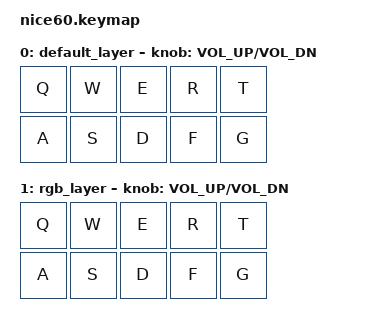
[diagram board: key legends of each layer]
/*
 * Copyright (c) 2021 Nick Winans
 *
 * SPDX-License-Identifier: MIT
 */

       
#include <behaviors.dtsi>
#include <dt-bindings/zmk/keys.h>
#include <dt-bindings/zmk/bt.h>
#include <dt-bindings/zmk/outputs.h>
#include <dt-bindings/zmk/ext_power.h>
#include <dt-bindings/zmk/rgb.h>

/ {
    keymap {
        compatible = "zmk,keymap";

        default_layer {
// ------------------------------------------------------------------------------------------
// | ESC |  1  |  2  |  3  |  4  |  5  |  6  |  7  |  8  |  9  |  0  |  -  |  =  |   BKSP   |
// | TAB  |  Q  |  W  |  E  |  R  |  T  |  Y  |  U  |  I  |  O  |  P  |  [  |  ]  |   "|"   |
// | CAPS  |  A  |  S  |  D  |  F  |  G  |  H  |  J  |  K  |  L  |  ;  |  '  |     ENTER    |
// |  SHIFT  |  Z  |  X  |  C  |  V  |  B  |  N  |  M  |  ,  |  .  |  /  |      SHIFT       |
// |  CTL  |  WIN  |  ALT  |            SPACE              |  ALT  |  WIN  |  MO(1) |  CTL  |
// ------------------------------------------------------------------------------------------
            bindings = <
	&kp Q &kp W &kp E &kp R &kp T
	&kp A &kp S &kp D &kp F &kp G
            >;
            sensor-bindings = <&inc_dec_kp C_VOL_UP C_VOL_DN>;
        };

        rgb_layer {
// ------------------------------------------------------------------------------------------------
// | BT CLR | F1  | F2  | F3  | F4  | F5  | F6  | F7  | F8  | F9  | F10  | F11 | F12 | EFFECT REV |
// |  BT 1   |   |  UP |   | HUEUP | SATUP | BRIUP | SPDUP |   |     |    |     |     |           |
// |   BT 2   | LT |  DN  | RT | HUEDN | SATDN | BRIDN | SPDDN |   |     |   |     |  EFFECT FORW |
// |    BT 3     |     |      |      |     |     |     |     |     |     |     |                  |
// |   BT 4  |      |      |             TOG RGB                | PRT SCR |       |       |  DEL  |
// ------------------------------------------------------------------------------------------------
            bindings = <
	&kp Q &kp W &kp E &kp R &kp T
	&kp A &kp S &kp D &kp F &kp G
            >;
           sensor-bindings = <&inc_dec_kp C_VOL_UP C_VOL_DN>;
        };
    };
};
